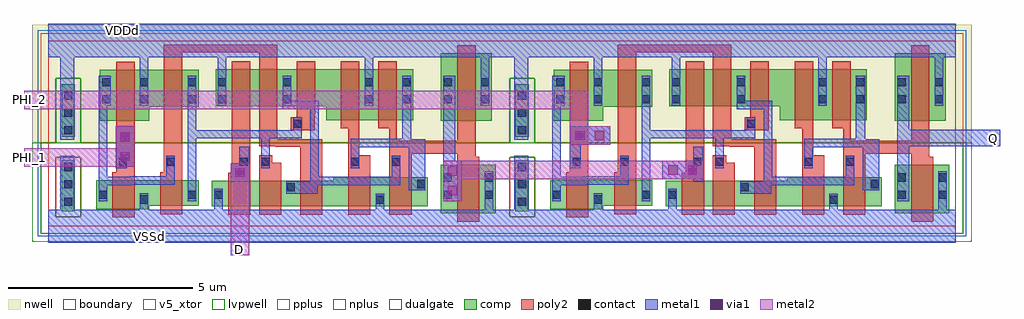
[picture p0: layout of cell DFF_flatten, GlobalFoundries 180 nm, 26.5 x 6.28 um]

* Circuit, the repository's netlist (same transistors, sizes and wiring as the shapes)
* Extracted by KLayout with GF180MCU LVS runset on : 01/09/2025 05:24

.SUBCKT DFF_flatten VSS|VSSd D|Q Q E|PHI_1 D E|PHI_2 VDD|VDDd vss
M$1 VDD|VDDd E|PHI_1 \$2 VDD|VDDd pfet_05v0 L=0.5U W=1.38U AS=0.6072P AD=0.476P
+ PS=3.64U PD=2.18U
M$2 \$3 \$2 VDD|VDDd VDD|VDDd pfet_05v0 L=0.5U W=1U AS=0.476P AD=0.44P PS=2.18U
+ PD=2.88U
M$3 VDD|VDDd E|PHI_2 \$5 VDD|VDDd pfet_05v0 L=0.5U W=1.38U AS=0.6072P AD=0.476P
+ PS=3.64U PD=2.18U
M$4 \$6 \$5 VDD|VDDd VDD|VDDd pfet_05v0 L=0.5U W=1U AS=0.476P AD=0.44P PS=2.18U
+ PD=2.88U
M$5 \$31 D VDD|VDDd VDD|VDDd pfet_05v0 L=0.5U W=1U AS=0.44P AD=0.12P PS=2.88U
+ PD=1.24U
M$6 \$10 \$2 \$31 VDD|VDDd pfet_05v0 L=0.5U W=1U AS=0.12P AD=0.26P PS=1.24U
+ PD=1.52U
M$7 \$10 \$3 \$32 VDD|VDDd pfet_05v0 L=0.5U W=1U AS=0.426P AD=0.26P PS=2.08U
+ PD=1.52U
M$8 VDD|VDDd \$11 \$32 VDD|VDDd pfet_05v0 L=0.5U W=1.38U AS=0.426P AD=0.3588P
+ PS=2.08U PD=1.9U
M$9 \$11 \$10 VDD|VDDd VDD|VDDd pfet_05v0 L=0.5U W=1.38U AS=0.3588P AD=0.6072P
+ PS=1.9U PD=3.64U
M$10 \$37 D|Q VDD|VDDd VDD|VDDd pfet_05v0 L=0.5U W=1U AS=0.44P AD=0.12P
+ PS=2.88U PD=1.24U
M$11 \$13 \$5 \$37 VDD|VDDd pfet_05v0 L=0.5U W=1U AS=0.12P AD=0.26P PS=1.24U
+ PD=1.52U
M$12 \$13 \$6 \$39 VDD|VDDd pfet_05v0 L=0.5U W=1U AS=0.426P AD=0.26P PS=2.08U
+ PD=1.52U
M$13 VDD|VDDd \$14 \$39 VDD|VDDd pfet_05v0 L=0.5U W=1.38U AS=0.426P AD=0.3588P
+ PS=2.08U PD=1.9U
M$14 \$14 \$13 VDD|VDDd VDD|VDDd pfet_05v0 L=0.5U W=1.38U AS=0.3588P AD=0.6072P
+ PS=1.9U PD=3.64U
M$15 VDD|VDDd \$10 D|Q VDD|VDDd pfet_05v0 L=0.5U W=1.83U AS=0.8052P AD=0.8052P
+ PS=4.54U PD=4.54U
M$16 VDD|VDDd \$13 Q VDD|VDDd pfet_05v0 L=0.5U W=1.83U AS=0.8052P AD=0.8052P
+ PS=4.54U PD=4.54U
M$17 \$18 D VSS|VSSd vss nfet_05v0 L=0.6U W=0.7U AS=0.308P AD=0.084P PS=2.28U
+ PD=0.94U
M$18 \$10 \$3 \$18 vss nfet_05v0 L=0.6U W=0.7U AS=0.084P AD=0.182P PS=0.94U
+ PD=1.22U
M$19 \$19 \$2 \$10 vss nfet_05v0 L=0.6U W=0.7U AS=0.182P AD=0.263P PS=1.22U
+ PD=1.49U
M$20 VSS|VSSd \$11 \$19 vss nfet_05v0 L=0.6U W=0.79U AS=0.263P AD=0.2054P
+ PS=1.49U PD=1.31U
M$21 \$11 \$10 VSS|VSSd vss nfet_05v0 L=0.6U W=0.79U AS=0.2054P AD=0.3476P
+ PS=1.31U PD=2.46U
M$22 \$25 D|Q VSS|VSSd vss nfet_05v0 L=0.6U W=0.7U AS=0.308P AD=0.084P PS=2.28U
+ PD=0.94U
M$23 \$13 \$6 \$25 vss nfet_05v0 L=0.6U W=0.7U AS=0.084P AD=0.182P PS=0.94U
+ PD=1.22U
M$24 \$21 \$5 \$13 vss nfet_05v0 L=0.6U W=0.7U AS=0.182P AD=0.263P PS=1.22U
+ PD=1.49U
M$25 VSS|VSSd \$14 \$21 vss nfet_05v0 L=0.6U W=0.79U AS=0.263P AD=0.2054P
+ PS=1.49U PD=1.31U
M$26 \$14 \$13 VSS|VSSd vss nfet_05v0 L=0.6U W=0.79U AS=0.2054P AD=0.3476P
+ PS=1.31U PD=2.46U
M$27 VSS|VSSd E|PHI_1 \$2 vss nfet_05v0 L=0.6U W=0.79U AS=0.3476P AD=0.263P
+ PS=2.46U PD=1.49U
M$28 \$3 \$2 VSS|VSSd vss nfet_05v0 L=0.6U W=0.7U AS=0.263P AD=0.308P PS=1.49U
+ PD=2.28U
M$29 VSS|VSSd E|PHI_2 \$5 vss nfet_05v0 L=0.6U W=0.79U AS=0.3476P AD=0.263P
+ PS=2.46U PD=1.49U
M$30 \$6 \$5 VSS|VSSd vss nfet_05v0 L=0.6U W=0.7U AS=0.263P AD=0.308P PS=1.49U
+ PD=2.28U
M$31 VSS|VSSd \$10 D|Q vss nfet_05v0 L=0.6U W=1.32U AS=0.5808P AD=0.5808P
+ PS=3.52U PD=3.52U
M$32 VSS|VSSd \$13 Q vss nfet_05v0 L=0.6U W=1.32U AS=0.5808P AD=0.5808P
+ PS=3.52U PD=3.52U
.ENDS DFF_flatten

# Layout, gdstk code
from math import pi, radians
import gdstk
lib = gdstk.Library(unit=1e-6, precision=5e-09)
def R(c, l, rs):  # rectangles x0, y0, x1, y1
    for r in rs: c.add(gdstk.rectangle(r[:2], r[2:], *l))
def A(c, l, x, y, w, h, nx, ny, dx, dy):  # array of equal rectangles
    R(c, l, [(x+i*dx, y+j*dy, x+i*dx+w, y+j*dy+h) for i in range(nx) for j in range(ny)])
def P(c, l, *ps):  # polygons
    for p in ps: c.add(gdstk.Polygon(p, *l))
boundary = (0, 0)
nwell = (21, 0)
comp = (22, 0)
poly2 = (30, 0)
pplus = (31, 0)
nplus = (32, 0)
contact = (33, 0)
metal1 = (34, 0)
via1 = (35, 0)
metal2 = (36, 0)
dualgate = (55, 0)
v5_xtor = (112, 1)
lvpwell = (204, 0)

gf180mcu_fd_sc_mcu9t5v0_ = lib.new_cell('gf180mcu_fd_sc_mcu9t5v0__latq_1')
R(gf180mcu_fd_sc_mcu9t5v0_, boundary, [(0,0,11.2,5.04)])
R(gf180mcu_fd_sc_mcu9t5v0_, nwell, [(-0.43,2.265,11.63,5.47)])
R(gf180mcu_fd_sc_mcu9t5v0_, comp, [(9.54,0.345,11.02,1.665), (9.54,2.865,10.92,4.695)])
P(gf180mcu_fd_sc_mcu9t5v0_, comp, [(0.18,0.46),(0.18,1.25),(2.96,1.25),(2.96,0.55),(1.62,0.55),(1.62,0.46)],
  [(0.28,2.865),(0.28,4.245),(2.96,4.245),(2.96,3.245),(1.62,3.245),(1.62,2.865)],
  [(6.42,2.88),(6.42,3.26),(3.42,3.26),(3.42,4.26),(8.78,4.26),(8.78,2.88)],
  [(3.32,0.535),(3.32,1.235),(6.62,1.235),(6.62,1.325),(9.18,1.325),(9.18,0.535)])
P(gf180mcu_fd_sc_mcu9t5v0_, poly2, [(0.62,0.24),(0.62,1.47),(0.72,1.47),(0.72,4.465),(1.22,4.465),(1.22,0.24)],
  [(3.76,0.315),(3.76,1.455),(3.86,1.455),(3.86,4.48),(4.36,4.48),(4.36,0.315)],
  [(4.6,0.315),(4.6,1.925),(4.96,1.925),(4.96,1.715),(5.2,1.715),(5.2,0.315)],
  [(5.46,2.6),(5.46,2.96),(5.62,2.96),(5.62,4.48),(6.12,4.48),(6.12,3.04),(6.115,3.04),(6.115,2.6)],
  [(5.72,0.315),(5.72,2.16),(5.055,2.16),(5.055,2.165),(4.6,2.165),(4.6,4.72),(2.52,4.72),(2.52,0.33),(1.92,0.33),(1.92,1.47),(2.02,1.47),(2.02,4.92),(5.1,4.92),(5.1,2.36),(6.32,2.36),(6.32,0.315)],
  [(7.02,0.315),(7.02,2.66),(6.82,2.66),(6.82,4.48),(7.32,4.48),(7.32,1.925),(7.62,1.925),(7.62,0.315)],
  [(9.98,0.125),(9.98,1.965),(8.74,1.965),(8.74,0.315),(8.14,0.315),(8.14,2.66),(7.84,2.66),(7.84,4.48),(8.34,4.48),(8.34,2.325),(9.98,2.325),(9.98,4.915),(10.48,4.915),(10.48,1.885),(10.58,1.885),(10.58,0.125)])
R(gf180mcu_fd_sc_mcu9t5v0_, pplus, [(-0.2,2.265,11.4,5.24)])
R(gf180mcu_fd_sc_mcu9t5v0_, nplus, [(-0.2,-0.2,11.4,2.265)])
R(gf180mcu_fd_sc_mcu9t5v0_, contact, [(7.77,0.605,7.99,0.825), (1.37,0.615,1.59,0.835), (0.25,0.74,0.47,0.96), (2.67,0.74,2.89,0.96), (3.39,0.74,3.61,0.96), (9.61,0.74,9.83,0.96), (10.73,0.74,10.95,0.96), (5.35,0.945,5.57,1.165), (8.89,1.035,9.11,1.255), (9.61,1.21,9.83,1.43), (10.73,1.21,10.95,1.43), (0.79,1.635,1.01,1.855), (2.09,1.635,2.31,1.855), (4.07,1.635,4.29,1.855), (4.67,1.635,4.89,1.855), (7.09,1.635,7.31,1.855), (8.21,1.635,8.43,1.855), (5.53,2.67,5.75,2.89), (0.35,3.33,0.57,3.55), (1.37,3.33,1.59,3.55), (2.67,3.33,2.89,3.55), (3.49,3.33,3.71,3.55), (5.25,3.33,5.47,3.55), (7.47,3.33,7.69,3.55), (8.49,3.33,8.71,3.55), (9.61,3.33,9.83,3.55), (10.63,3.33,10.85,3.55), (0.35,3.8,0.57,4.02), (1.37,3.8,1.59,4.02), (2.67,3.8,2.89,4.02), (3.49,3.8,3.71,4.02), (5.25,3.8,5.47,4.02), (7.47,3.8,7.69,4.02), (8.49,3.8,8.71,4.02), (9.61,3.8,9.83,4.02), (10.63,3.8,10.85,4.02)])
R(gf180mcu_fd_sc_mcu9t5v0_, metal1, [(9.605,0.68,9.93,4.08), (4.065,1.21,4.33,2.15), (0.71,1.575,1.015,2.71)])
P(gf180mcu_fd_sc_mcu9t5v0_, metal1, [(0.245,0.68),(0.245,4.08),(0.575,4.08),(0.575,3.27),(0.475,3.27),(0.475,1.345),(1.085,1.345),(1.085,1.355),(2.085,1.355),(2.085,1.915),(2.315,1.915),(2.315,1.125),(1.155,1.125),(1.155,1.115),(0.475,1.115),(0.475,0.68)],
  [(2.665,0.68),(2.665,4.08),(2.895,4.08),(2.895,2.61),(5.525,2.61),(5.525,2.95),(5.755,2.95),(5.755,2.38),(4.895,2.38),(4.895,1.575),(4.665,1.575),(4.665,2.38),(2.895,2.38),(2.895,0.68)],
  [(5.345,0.885),(5.345,1.225),(5.985,1.225),(5.985,3.18),(5.245,3.18),(5.245,4.08),(5.475,4.08),(5.475,3.41),(6.215,3.41),(6.215,1.345),(8.205,1.345),(8.205,1.915),(8.435,1.915),(8.435,1.115),(6.19,1.115),(6.19,0.885)],
  [(8.665,0.975),(8.665,2.145),(7.315,2.145),(7.315,1.575),(7.085,1.575),(7.085,2.375),(8.485,2.375),(8.485,4.08),(8.735,4.08),(8.735,2.365),(9.115,2.365),(9.115,0.975)],
  [(0,-0.45),(0,0.45),(1.365,0.45),(1.365,0.895),(1.595,0.895),(1.595,0.45),(3.385,0.45),(3.385,1.02),(3.615,1.02),(3.615,0.45),(7.765,0.45),(7.765,0.885),(7.995,0.885),(7.995,0.45),(10.725,0.45),(10.725,1.49),(10.955,1.49),(10.955,0.45),(11.2,0.45),(11.2,-0.45)],
  [(1.365,3.27),(1.365,4.59),(0,4.59),(0,5.49),(11.2,5.49),(11.2,4.59),(10.855,4.59),(10.855,3.27),(10.625,3.27),(10.625,4.59),(7.695,4.59),(7.695,3.27),(7.465,3.27),(7.465,4.59),(3.715,4.59),(3.715,3.27),(3.485,3.27),(3.485,4.59),(1.595,4.59),(1.595,3.27)])
R(gf180mcu_fd_sc_mcu9t5v0_, dualgate, [(-0.28,-0.28,11.48,5.32)])
R(gf180mcu_fd_sc_mcu9t5v0_, v5_xtor, [(0,0,11.2,5.04)])
R(gf180mcu_fd_sc_mcu9t5v0_, lvpwell, [(-0.43,-0.43,11.63,2.265)])
gf180mcu_fd_sc_mcu9t5v0_.add(gdstk.Label('D', (4.2,1.4), layer=34, texttype=10))
gf180mcu_fd_sc_mcu9t5v0_.add(gdstk.Label('E', (0.84,1.96), layer=34, texttype=10))
gf180mcu_fd_sc_mcu9t5v0_.add(gdstk.Label('Q', (9.8,2.52), layer=34, texttype=10))
gf180mcu_fd_sc_mcu9t5v0_.add(gdstk.Label('VDD', (5.6,5.49), layer=34, texttype=10))
gf180mcu_fd_sc_mcu9t5v0_.add(gdstk.Label('VSS', (5.6,-0.45), layer=34, texttype=10))
gf180mcu_fd_sc_mcu9t5v0_.add(gdstk.Label('& Vendor GLOBALFOUNDRIES', (0,2), layer=63, texttype=63))
gf180mcu_fd_sc_mcu9t5v0_.add(gdstk.Label('& Product GF018hv5v_green_sc9', (0,1.5), layer=63, texttype=63))
gf180mcu_fd_sc_mcu9t5v0_.add(gdstk.Label('& Version 2015q2v2', (0,1), layer=63, texttype=63))
gf180mcu_fd_sc_mcu9t5v0_.add(gdstk.Label('& Metric 1.00', (0,0.5), layer=63, texttype=63))
gf180mcu_fd_sc_mcu9t5v0_.add(gdstk.Label('VNW', (0.345,3.92), layer=21, texttype=10))
gf180mcu_fd_sc_mcu9t5v0_.add(gdstk.Label('VPW', (0.34,-0.085), layer=204, texttype=10))

c_gf180mcu_fd_sc_mcu9t5v0_ = lib.new_cell('gf180mcu_fd_sc_mcu9t5v0__filltie')
R(c_gf180mcu_fd_sc_mcu9t5v0_, boundary, [(0,0,1.12,5.04)])
R(c_gf180mcu_fd_sc_mcu9t5v0_, nwell, [(-0.43,2.265,1.55,5.47)])
R(c_gf180mcu_fd_sc_mcu9t5v0_, comp, [(0.36,0.41,0.72,1.785), (0.36,2.425,0.72,3.855)])
R(c_gf180mcu_fd_sc_mcu9t5v0_, pplus, [(0.2,0.25,0.88,1.865)])
P(c_gf180mcu_fd_sc_mcu9t5v0_, pplus, [(-0.2,2.265),(-0.2,5.24),(1.32,5.24),(1.32,2.265),(0.88,2.265),(0.88,4.015),(0.2,4.015),(0.2,2.265)])
P(c_gf180mcu_fd_sc_mcu9t5v0_, nplus, [(-0.2,-0.2),(-0.2,2.265),(0.2,2.265),(0.2,4.015),(0.88,4.015),(0.88,1.865),(0.2,1.865),(0.2,0.25),(0.88,0.25),(0.88,4.015),(0.88,2.265),(1.32,2.265),(1.32,-0.2)])
A(c_gf180mcu_fd_sc_mcu9t5v0_, contact, 0.43, 0.555, 0.22, 0.22, 1, 3, 0, 0.47)
A(c_gf180mcu_fd_sc_mcu9t5v0_, contact, 0.43, 2.495, 0.22, 0.22, 1, 3, 0, 0.47)
P(c_gf180mcu_fd_sc_mcu9t5v0_, metal1, [(0,-0.45),(0,0.45),(0.33,0.45),(0.33,1.91),(0.71,1.91),(0.71,0.45),(1.12,0.45),(1.12,-0.45)],
  [(0.33,2.34),(0.33,4.59),(0,4.59),(0,5.49),(1.12,5.49),(1.12,4.59),(0.71,4.59),(0.71,2.34)])
R(c_gf180mcu_fd_sc_mcu9t5v0_, dualgate, [(-0.28,-0.28,1.4,5.32)])
R(c_gf180mcu_fd_sc_mcu9t5v0_, v5_xtor, [(0,0,1.12,5.04)])
R(c_gf180mcu_fd_sc_mcu9t5v0_, lvpwell, [(-0.43,-0.43,1.55,2.265)])
c_gf180mcu_fd_sc_mcu9t5v0_.add(gdstk.Label('VSS', (0.56,-0.45), layer=34, texttype=10))
c_gf180mcu_fd_sc_mcu9t5v0_.add(gdstk.Label('VDD', (0.56,5.49), layer=34, texttype=10))
c_gf180mcu_fd_sc_mcu9t5v0_.add(gdstk.Label('& Vendor GLOBALFOUNDRIES', (0,2), layer=63, texttype=63))
c_gf180mcu_fd_sc_mcu9t5v0_.add(gdstk.Label('& Product GF018hv5v_green_sc9', (0,1.5), layer=63, texttype=63))
c_gf180mcu_fd_sc_mcu9t5v0_.add(gdstk.Label('& Version 2015q2v2', (0,1), layer=63, texttype=63))
c_gf180mcu_fd_sc_mcu9t5v0_.add(gdstk.Label('& Metric 1.00', (0,0.5), layer=63, texttype=63))

via_dev = lib.new_cell('via_dev')
R(via_dev, metal1, [(0,0,0.5,1.1)])
R(via_dev, via1, [(0.12,0.155,0.38,0.415), (0.12,0.685,0.38,0.945)])
R(via_dev, metal2, [(0,0,0.5,1.1)])

via_dev_1 = lib.new_cell('via_dev$1')
R(via_dev_1, metal1, [(0,0,0.5,0.5)])
R(via_dev_1, via1, [(0.12,0.12,0.38,0.38)])
R(via_dev_1, metal2, [(0,0,0.5,0.5)])

dff_flatten = lib.new_cell('DFF_flatten')
R(dff_flatten, metal1, [(25.73,1.625,28.195,2.075)])
R(dff_flatten, metal2, [(13.585,0.735,19.03,1.235), (1.7,1.065,4.19,1.565), (16.51,2.165,17.02,3.13), (1.7,2.63,16.52,3.13)])
dff_flatten.add(gdstk.FlexPath([(7.56,0.665),(7.56,-1.33)], 0.5, ends="flush", simple_path=True, layer=36, datatype=0))  # metal2
dff_flatten.add(gdstk.Reference(gf180mcu_fd_sc_mcu9t5v0_, (3.48,-0.545)))
dff_flatten.add(gdstk.Reference(c_gf180mcu_fd_sc_mcu9t5v0_, (14.68,-0.545)))
dff_flatten.add(gdstk.Reference(c_gf180mcu_fd_sc_mcu9t5v0_, (2.36,-0.545)))
dff_flatten.add(gdstk.Reference(gf180mcu_fd_sc_mcu9t5v0_, (15.8,-0.545)))
dff_flatten.add(gdstk.Reference(via_dev, (20.13,0.735), rotation=pi/2))
dff_flatten.add(gdstk.Reference(via_dev, (13.585,1.235), rotation=pi))
dff_flatten.add(gdstk.Reference(via_dev, (4.69,2.165), rotation=pi))
dff_flatten.add(gdstk.Reference(via_dev, (16.51,2.165), rotation=3*pi/2))
dff_flatten.add(gdstk.Reference(via_dev_1, (7.81,1.165), rotation=pi))
dff_flatten.add(gdstk.Label('VDDd', (4.37,4.775), layer=34, texttype=10))
dff_flatten.add(gdstk.Label('VSSd', (5.095,-0.825), layer=34, texttype=10))
dff_flatten.add(gdstk.Label('Q', (28.01,1.84), layer=34, texttype=10))
dff_flatten.add(gdstk.Label('PHI_1', (1.845,1.315), layer=36, texttype=10))
dff_flatten.add(gdstk.Label('PHI_2', (1.84,2.9), layer=36, texttype=10))
dff_flatten.add(gdstk.Label('D', (7.56,-1.17), layer=36, texttype=10))

lib.write_gds('DFF_flatten.gds')
